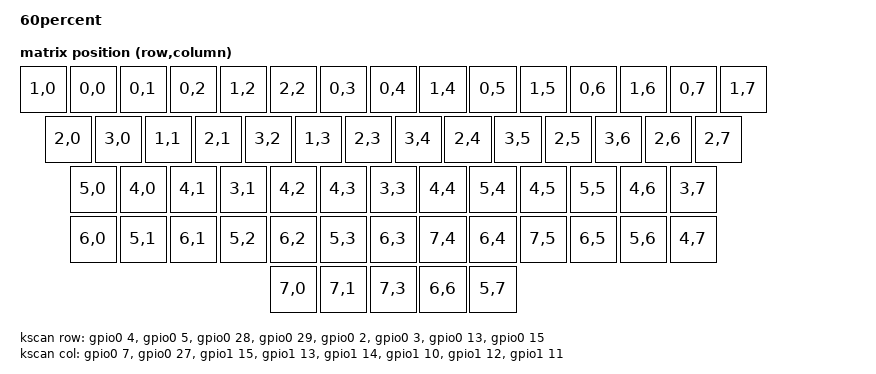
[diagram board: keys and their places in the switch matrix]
/*
 * Copyright (c) 2023 HeeChan Kang
 *
 * SPDX-License-Identifier: MIT
 */

/dts-v1/;
#include <nordic/nrf52840_qiaa.dtsi>
#include <dt-bindings/zmk/matrix_transform.h>

/ {
    model = "60percent";
    compatible = "ent,60percent";

    chosen {
        zephyr,code-partition = &code_partition;
        zephyr,sram = &sram0;
        zephyr,flash = &flash0;
        zmk,kscan = &kscan;
        zmk,matrix_transform = &ortho_transform;
        zmk,battery = &vbatt;
        zephyr,console = &cdc_acm_uart0;
    };

    aliases {
        led0 = &green_led;
        led1 = &blue_led;
    };

    leds {
        compatible = "gpio-leds";
        green_led: led0 {
            gpios = <&gpio0 26 GPIO_ACTIVE_HIGH>;
            label = "Green LED";
        };
        blue_led: led_1 {
            gpios = <&gpio0 12 GPIO_ACTIVE_HIGH>;
            label = "Blue LED";
        };
    };

    vbatt: vbatt {
        compatible = "zmk,battery-voltage-divider";
        label = "BATTERY";
        io-channels = <&adc 6>;
        output-ohms = <100000>;
        full-ohms = <(100000 + 100000)>;
    };

    ortho_transform: ortho_transform {
        compatible = "zmk,matrix-transform";
        rows = <8>;
        columns = <8>;

        map = <
            RC(1, 0)  RC(0, 0)  RC(0, 1)  RC(0, 2)  RC(1, 2) RC(2, 2)  RC(0, 3)  RC(0, 4)  RC(1, 4)  RC(0, 5)  RC(1, 5)  RC(0, 6)  RC(1, 6) RC(0, 7)  RC(1, 7)
            RC(2, 0)   RC(3, 0)  RC(1, 1)  RC(2, 1)  RC(3, 2)  RC(1, 3)  RC(2, 3)  RC(3, 4)  RC(2, 4)  RC(3, 5) RC(2, 5)  RC(3, 6)  RC(2, 6)          RC(2, 7)
            RC(5, 0)    RC(4, 0)  RC(4, 1)  RC(3, 1)  RC(4, 2)  RC(4, 3)  RC(3, 3)  RC(4, 4)  RC(5, 4)  RC(4, 5) RC(5, 5)  RC(4, 6)                   RC(3, 7)
            RC(6, 0)     RC(5, 1)  RC(6, 1)  RC(5, 2)  RC(6, 2)  RC(5, 3)  RC(6, 3)  RC(7, 4)  RC(6, 4)  RC(7, 5)  RC(6, 5)  RC(5, 6)                 RC(4, 7)
                  RC(7, 0)     RC(7, 1)                             RC(7, 3)                                            RC(6, 6)      RC(5, 7)
        >;
    };

    kscan: kscan {
        compatible = "zmk,kscan-gpio-matrix";
        label = "KSCAN";

        diode-direction = "col2row";

        col-gpios
            = <&gpio0 7 (GPIO_ACTIVE_HIGH)>
            , <&gpio0 27 (GPIO_ACTIVE_HIGH)>
            , <&gpio1 15 (GPIO_ACTIVE_HIGH)>
            , <&gpio1 13 (GPIO_ACTIVE_HIGH)>
            , <&gpio1 14 (GPIO_ACTIVE_HIGH)>
            , <&gpio1 10 (GPIO_ACTIVE_HIGH)>
            , <&gpio1 12 (GPIO_ACTIVE_HIGH)>
            , <&gpio1 11 (GPIO_ACTIVE_HIGH)>
            ;

        row-gpios
            = <&gpio0 4 (GPIO_ACTIVE_HIGH | GPIO_PULL_DOWN)>
            , <&gpio0 5 (GPIO_ACTIVE_HIGH | GPIO_PULL_DOWN)>
            , <&gpio0 28 (GPIO_ACTIVE_HIGH | GPIO_PULL_DOWN)>
            , <&gpio0 29 (GPIO_ACTIVE_HIGH | GPIO_PULL_DOWN)>
            , <&gpio0 2 (GPIO_ACTIVE_HIGH | GPIO_PULL_DOWN)>
            , <&gpio0 3 (GPIO_ACTIVE_HIGH | GPIO_PULL_DOWN)>
            , <&gpio0 13 (GPIO_ACTIVE_HIGH | GPIO_PULL_DOWN)>
            , <&gpio0 15 (GPIO_ACTIVE_HIGH | GPIO_PULL_DOWN)>
            ;
    };
};

&adc {
    status = "okay";
};

&gpiote {
    status = "okay";
};

&gpio0 {
    status = "okay";
};

&gpio1 {
    status = "okay";
};

&usbd {
    status = "okay";
    cdc_acm_uart0: cdc_acm_uart0 {
        compatible = "zephyr,cdc-acm-uart";
        label = "CDC_ACM_0";
    };
}; 

&flash0 {
    /*
     * For more information, see:
     * http://docs.zephyrproject.org/latest/devices/dts/flash_partitions.html
     */
    partitions {
        compatible = "fixed-partitions";
        #address-cells = <1>;
        #size-cells = <1>;

        sd_partition: partition@0 {
            label = "mbr";
            reg = <0x00000000 0x00001000>;
        };
        code_partition: partition@1000 {
            label = "code_partition";
            reg = <0x00001000 0x000d3000>;
        };

        storage_partition: partition@d4000 {
            label = "storage";
            reg = <0x000d4000 0x00020000>;
        };

        boot_partition: partition@f4000 {
            label = "adafruit_boot";
            reg = <0x000f4000 0x0000c000>;
        };
    };
};
